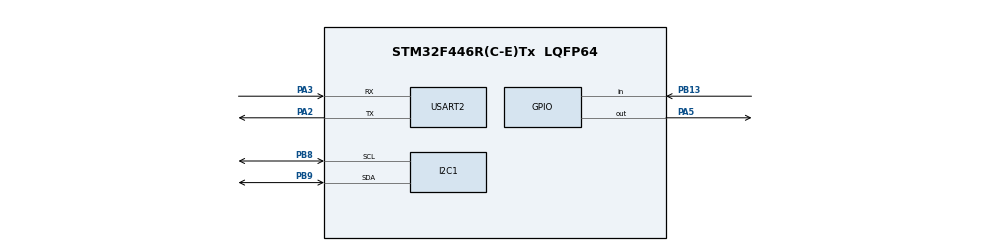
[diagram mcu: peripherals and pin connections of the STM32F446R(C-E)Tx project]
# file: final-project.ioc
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Mcu.Family=STM32F4
Mcu.Name=STM32F446R(C-E)Tx
Mcu.Package=LQFP64
NVIC.PriorityGroup=NVIC_PRIORITYGROUP_4
PA13.Mode=Serial_Wire
PA13.Signal=SYS_JTMS-SWDIO
PA14.Mode=Serial_Wire
PA14.Signal=SYS_JTCK-SWCLK
PA2.Mode=Asynchronous
PA2.Signal=USART2_TX
PA3.Mode=Asynchronous
PA3.Signal=USART2_RX
PA5.Signal=GPIO_Output
PB13.GPIO_PuPd=GPIO_PULLUP
PB13.Signal=GPIO_Input
PB8.GPIO_Pu=GPIO_PULLUP
PB8.GPIO_Speed=GPIO_SPEED_FREQ_LOW
PB8.Mode=I2C
PB8.Signal=I2C1_SCL
PB9.GPIO_Pu=GPIO_PULLUP
PB9.GPIO_Speed=GPIO_SPEED_FREQ_LOW
PB9.Mode=I2C
PB9.Signal=I2C1_SDA
ProjectManager.HeapSize=0x200
ProjectManager.StackSize=0x400
ProjectManager.TargetToolchain=STM32CubeIDE
RCC.CortexFreq_Value=16000000
RCC.USBFreq_Value=96000000
RCC.VCOOutputFreq_Value=192000000
USART2.VirtualMode=VM_ASYNC
board=custom

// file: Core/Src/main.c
/* USER CODE BEGIN Header */
/**
  ******************************************************************************
  * @file           : main.c
  * @brief          : Main program body
  ******************************************************************************
  * @attention
  *
  * Copyright (c) 2026 STMicroelectronics.
  * All rights reserved.
  *
  * This software is licensed under terms that can be found in the LICENSE file
  * in the root directory of this software component.
  * If no LICENSE file comes with this software, it is provided AS-IS.
  *
  ******************************************************************************
  */
/* USER CODE END Header */
#include "main.h"

/* USER CODE BEGIN Includes */
#include <stdio.h>
#include <string.h>
#include "MPU6050.h" // Adicionado o header da biblioteca
#include <math.h>
/* USER CODE END Includes */

/* USER CODE BEGIN PD */
// Removidos os defines manuais antigos pois a biblioteca já gerencia os endereços
/* USER CODE END PD */

I2C_HandleTypeDef hi2c1;
UART_HandleTypeDef huart2;

/* USER CODE BEGIN PV */
char buffer[120];

float Ax, Ay, Az;
float Gx, Gy, Gz;

float baseline_mag = 0.0f;
float rms_vib = 0.0f;
float limite_rms = 0.03f;
uint32_t sample_index = 0;

/* USER CODE END PV */

void SystemClock_Config(void);
static void MX_GPIO_Init(void);
static void MX_I2C1_Init(void);
static void MX_USART2_UART_Init(void);
/* USER CODE BEGIN PFP */
void MPU6050_WakeUp(void);
void MPU6050_Config_Accel(void);
void MPU6050_Read_Accel_g(float *ax, float *ay, float *az);
float MPU6050_Get_Magnitude(void);
void Calibrar_MPU6050(void);
float Calcular_RMS_Vibracao(void);
/* USER CODE END PFP */

/* USER CODE BEGIN 0 */
void MPU6050_WakeUp(void)
{
    uint8_t data = 0x00;

    HAL_I2C_Mem_Write(&hi2c1, 0x68 << 1, 0x6B,
                      I2C_MEMADD_SIZE_8BIT, &data, 1, HAL_MAX_DELAY);
}

void MPU6050_Config_Accel(void)
{
    uint8_t data = 0x00;

    HAL_I2C_Mem_Write(&hi2c1, 0x68 << 1, 0x1C,
                      I2C_MEMADD_SIZE_8BIT, &data, 1, HAL_MAX_DELAY);
}

void MPU6050_Read_Accel_g(float *ax, float *ay, float *az)
{
    uint8_t data[6];

    int16_t raw_ax, raw_ay, raw_az;

    HAL_I2C_Mem_Read(&hi2c1, 0x68 << 1, 0x3B,
                     I2C_MEMADD_SIZE_8BIT, data, 6, HAL_MAX_DELAY);

    raw_ax = (int16_t)((data[0] << 8) | data[1]);
    raw_ay = (int16_t)((data[2] << 8) | data[3]);
    raw_az = (int16_t)((data[4] << 8) | data[5]);

    *ax = raw_ax / 16384.0f;
    *ay = raw_ay / 16384.0f;
    *az = raw_az / 16384.0f;
}

float MPU6050_Get_Magnitude(void)
{
    MPU6050_Read_Accel_g(&Ax, &Ay, &Az);

    float mag = sqrtf(Ax*Ax + Ay*Ay + Az*Az);

    return mag;
}

void Calibrar_MPU6050(void)
{
    float soma = 0.0f;
    int N = 500;

    sprintf(buffer, "Calibrando MPU6050... mantenha parado.\r\n");
    HAL_UART_Transmit(&huart2, (uint8_t*)buffer, strlen(buffer), HAL_MAX_DELAY);

    for (int i = 0; i < N; i++)
    {
        soma += MPU6050_Get_Magnitude();
        HAL_Delay(4);
    }

    baseline_mag = soma / N;

    sprintf(buffer, "Calibracao concluida. Baseline = %.4f g\r\n", baseline_mag);
    HAL_UART_Transmit(&huart2, (uint8_t*)buffer, strlen(buffer), HAL_MAX_DELAY);
}

float Calcular_RMS_Vibracao(void)
{
    float soma_quadrados = 0.0f;
    int N = 250;

    for (int i = 0; i < N; i++)
    {
        float mag = MPU6050_Get_Magnitude();

        float vib = mag - baseline_mag;

        soma_quadrados += vib * vib;

        HAL_Delay(4);
    }

    return sqrtf(soma_quadrados / N);
}

/* USER CODE END 0 */

int main(void)
{

  /* MCU Configuration--------------------------------------------------------*/

  /* Reset of all peripherals, Initializes the Flash interface and the Systick. */
  HAL_Init();

  /* Configure the system clock */
  SystemClock_Config();

  /* Initialize all configured peripherals */
  MX_GPIO_Init();
  MX_I2C1_Init();
  MX_USART2_UART_Init();

  /* USER CODE BEGIN 2 */
  sprintf(buffer, "Sistema iniciado.\r\n");
  HAL_UART_Transmit(&huart2, (uint8_t*)buffer, strlen(buffer), HAL_MAX_DELAY);

  MPU6050_WakeUp();
  HAL_Delay(100);

  MPU6050_Config_Accel();
  HAL_Delay(100);

  sprintf(buffer, "MPU6050 configurado para acelerometro +-2g.\r\n");
  HAL_UART_Transmit(&huart2, (uint8_t*)buffer, strlen(buffer), HAL_MAX_DELAY);

  MPU6050_WakeUp();
  HAL_Delay(100);

  MPU6050_Config_Accel();
  HAL_Delay(100);

  Calibrar_MPU6050();

  sprintf(buffer, "Iniciando monitoramento RMS...\r\n");
  HAL_UART_Transmit(&huart2, (uint8_t*)buffer, strlen(buffer), HAL_MAX_DELAY);

  sprintf(buffer, "index,timestamp_ms,Ax,Ay,Az,rms_vib,alarme\r\n");
  HAL_UART_Transmit(&huart2, (uint8_t*)buffer, strlen(buffer), HAL_MAX_DELAY);
  /* USER CODE END 2 */

  /* Infinite loop */
  while (1)
  {

	   /* USER CODE BEGIN 3 */

	  MPU6050_Read_Accel_g(&Ax, &Ay, &Az);

	  float mag = sqrtf(Ax*Ax + Ay*Ay + Az*Az);
	  float vib = mag - baseline_mag;

	  uint8_t alarme = (vib > limite_rms) ? 1 : 0;

	  HAL_GPIO_WritePin(GPIOA, GPIO_PIN_5, alarme ? GPIO_PIN_SET : GPIO_PIN_RESET);

	  sprintf(buffer, "%lu,%lu,%.4f,%.4f,%.4f,%.4f,%u\r\n",
	          sample_index,
	          HAL_GetTick(),
	          Ax, Ay, Az,
	          vib,
	          alarme);
	  HAL_UART_Transmit(&huart2, (uint8_t*)buffer, strlen(buffer), HAL_MAX_DELAY);

	  sample_index++;

	  HAL_Delay(20); // 50 Hz → 15000 amostras em 5 minutos

    /* USER CODE END 3 */
  }

}

void SystemClock_Config(void)
{
  RCC_OscInitTypeDef RCC_OscInitStruct = {0};
  RCC_ClkInitTypeDef RCC_ClkInitStruct = {0};

  /** Configure the main internal regulator output voltage
  */
  __HAL_RCC_PWR_CLK_ENABLE();
  __HAL_PWR_VOLTAGESCALING_CONFIG(PWR_REGULATOR_VOLTAGE_SCALE3);

  /** Initializes the RCC Oscillators according to the specified parameters
  * in the RCC_OscInitTypeDef structure.
  */
  RCC_OscInitStruct.OscillatorType = RCC_OSCILLATORTYPE_HSI;
  RCC_OscInitStruct.HSIState = RCC_HSI_ON;
  RCC_OscInitStruct.HSICalibrationValue = RCC_HSICALIBRATION_DEFAULT;
  RCC_OscInitStruct.PLL.PLLState = RCC_PLL_NONE;
  if (HAL_RCC_OscConfig(&RCC_OscInitStruct) != HAL_OK)
  {
    Error_Handler();
  }

  /** Initializes the CPU, AHB and APB buses clocks
  */
  RCC_ClkInitStruct.ClockType = RCC_CLOCKTYPE_HCLK|RCC_CLOCKTYPE_SYSCLK
                              |RCC_CLOCKTYPE_PCLK1|RCC_CLOCKTYPE_PCLK2;
  RCC_ClkInitStruct.SYSCLKSource = RCC_SYSCLKSOURCE_HSI;
  RCC_ClkInitStruct.AHBCLKDivider = RCC_SYSCLK_DIV1;
  RCC_ClkInitStruct.APB1CLKDivider = RCC_HCLK_DIV1;
  RCC_ClkInitStruct.APB2CLKDivider = RCC_HCLK_DIV1;

  if (HAL_RCC_ClockConfig(&RCC_ClkInitStruct, FLASH_LATENCY_0) != HAL_OK)
  {
    Error_Handler();
  }
}

static void MX_I2C1_Init(void)
{
  hi2c1.Instance = I2C1;
  hi2c1.Init.ClockSpeed = 100000;
  hi2c1.Init.DutyCycle = I2C_DUTYCYCLE_2;
  hi2c1.Init.OwnAddress1 = 0;
  hi2c1.Init.AddressingMode = I2C_ADDRESSINGMODE_7BIT;
  hi2c1.Init.DualAddressMode = I2C_DUALADDRESS_DISABLE;
  hi2c1.Init.OwnAddress2 = 0;
  hi2c1.Init.GeneralCallMode = I2C_GENERALCALL_DISABLE;
  hi2c1.Init.NoStretchMode = I2C_NOSTRETCH_DISABLE;
  if (HAL_I2C_Init(&hi2c1) != HAL_OK)
  {
    Error_Handler();
  }
}

static void MX_USART2_UART_Init(void)
{
  huart2.Instance = USART2;
  huart2.Init.BaudRate = 115200;
  huart2.Init.WordLength = UART_WORDLENGTH_8B;
  huart2.Init.StopBits = UART_STOPBITS_1;
  huart2.Init.Parity = UART_PARITY_NONE;
  huart2.Init.Mode = UART_MODE_TX_RX;
  huart2.Init.HwFlowCtl = UART_HWCONTROL_NONE;
  huart2.Init.OverSampling = UART_OVERSAMPLING_16;
  if (HAL_UART_Init(&huart2) != HAL_OK)
  {
    Error_Handler();
  }
}

static void MX_GPIO_Init(void)
{
  GPIO_InitTypeDef GPIO_InitStruct = {0};

  /* GPIO Ports Clock Enable */
  __HAL_RCC_GPIOA_CLK_ENABLE();
  __HAL_RCC_GPIOB_CLK_ENABLE();

  /*Configure GPIO pin Output Level */
  HAL_GPIO_WritePin(GPIOA, GPIO_PIN_5, GPIO_PIN_RESET);

  /*Configure GPIO pin : PA5 */
  GPIO_InitStruct.Pin = GPIO_PIN_5;
  GPIO_InitStruct.Mode = GPIO_MODE_OUTPUT_PP;
  GPIO_InitStruct.Pull = GPIO_NOPULL;
  GPIO_InitStruct.Speed = GPIO_SPEED_FREQ_LOW;
  HAL_GPIO_Init(GPIOA, &GPIO_InitStruct);

  /*Configure GPIO pin : PB13 */
  GPIO_InitStruct.Pin = GPIO_PIN_13;
  GPIO_InitStruct.Mode = GPIO_MODE_INPUT;
  GPIO_InitStruct.Pull = GPIO_PULLUP;
  HAL_GPIO_Init(GPIOB, &GPIO_InitStruct);
}

void Error_Handler(void)
{
  __disable_irq();
  while (1)
  {
  }
}
